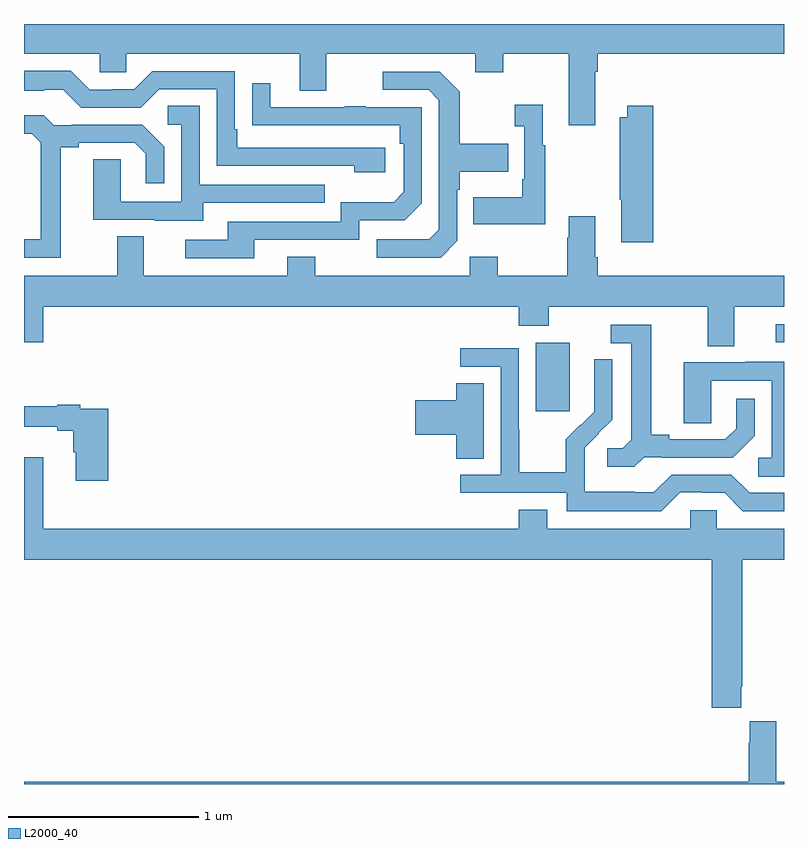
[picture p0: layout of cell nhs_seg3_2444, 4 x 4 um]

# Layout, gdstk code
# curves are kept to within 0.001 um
import gdstk
lib = gdstk.Library(unit=1e-6, precision=1e-09)
def R(c, l, rs):  # rectangles x0, y0, x1, y1
    for r in rs: c.add(gdstk.rectangle(r[:2], r[2:], *l))
def P(c, l, *ps):  # polygons
    for p in ps: c.add(gdstk.Polygon(p, *l))
L2000_40 = (2000, 40)

nhs_seg3_2444 = lib.new_cell('nhs_seg3_2444')
R(nhs_seg3_2444, L2000_40, [(239.693,704.361,239.872,704.722), (240.957,704.724,241,704.82)])
P(nhs_seg3_2444, L2000_40, [(240.007,706.148),(240.02,706.148),(240.02,706.244),(241,706.244),(241,706.4),(237,706.4),(237,706.244),(237.399,706.244),(237.399,706.146),(237.537,706.146),(237.537,706.244),(238.451,706.244),(238.451,706.05),(238.591,706.05),(238.591,706.244),(239.375,706.244),(239.375,706.145),(239.523,706.145),(239.523,706.244),(239.867,706.244),(239.867,705.867),(240.007,705.867)],
  [(238.9,705.75),(238.123,705.75),(238.123,705.847),(238.11,705.847),(238.11,706.152),(237.675,706.152),(237.579,706.056),(237.461,706.056),(237.461,706.053),(237.345,706.053),(237.245,706.153),(237,706.153),(237,706.049),(237.107,706.049),(237.107,706.053),(237.207,706.053),(237.3,705.96),(237.615,705.96),(237.711,706.056),(238.014,706.056),(238.014,705.654),(238.739,705.654),(238.739,705.62),(238.9,705.62)],
  [(239.28,705.258),(239.28,705.527),(239.293,705.527),(239.293,705.623),(239.549,705.623),(239.549,705.771),(239.293,705.771),(239.293,706.043),(239.187,706.149),(238.887,706.149),(238.887,706.053),(239.13,706.053),(239.184,705.999),(239.184,705.318),(239.133,705.267),(238.857,705.267),(238.857,705.171),(239.193,705.171)],
  [(238.213,705.264),(238.764,705.264),(238.764,705.366),(239.004,705.366),(239.094,705.456),(239.094,705.963),(238.799,705.963),(238.799,705.968),(238.687,705.968),(238.687,705.963),(238.297,705.963),(238.297,706.087),(238.201,706.087),(238.201,705.868),(238.978,705.867),(238.978,705.77),(238.998,705.77),(238.998,705.516),(238.945,705.463),(238.668,705.463),(238.668,705.36),(238.073,705.36),(238.073,705.264),(237.849,705.264),(237.849,705.168),(238.213,705.168)],
  [(239.743,705.763),(239.731,705.763),(239.731,705.976),(239.583,705.976),(239.583,705.863),(239.634,705.863),(239.634,705.583),(239.622,705.583),(239.622,705.487),(239.365,705.487),(239.365,705.347),(239.743,705.347)],
  [(237.943,705.459),(238.583,705.459),(238.583,705.555),(237.924,705.555),(237.924,705.971),(237.756,705.971),(237.756,705.87),(237.828,705.87),(237.828,705.465),(237.51,705.465),(237.51,705.689),(237.365,705.689),(237.365,705.369),(237.689,705.369),(237.689,705.365),(237.943,705.365)],
  [(240.311,705.97),(240.176,705.97),(240.176,705.91),(240.136,705.91),(240.136,705.475),(240.143,705.475),(240.143,705.252),(240.311,705.252)],
  [(237.193,705.752),(237.289,705.752),(237.289,705.774),(237.584,705.774),(237.641,705.717),(237.641,705.561),(237.738,705.561),(237.738,705.754),(237.622,705.87),(237.25,705.87),(237.25,705.867),(237.156,705.867),(237.104,705.919),(237,705.919),(237,705.822),(237.042,705.822),(237.089,705.775),(237.089,705.267),(237,705.267),(237,705.171),(237.193,705.171)],
  [(240.739,704.912),(241,704.912),(241,705.076),(240.02,705.076),(240.02,705.172),(240.007,705.172),(240.007,705.388),(239.867,705.388),(239.867,705.275),(239.86,705.275),(239.86,705.076),(239.493,705.076),(239.493,705.175),(239.346,705.175),(239.346,705.076),(238.533,705.076),(238.533,705.175),(238.385,705.175),(238.385,705.076),(237.631,705.076),(237.631,705.284),(237.491,705.284),(237.491,705.076),(237,705.076),(237,704.724),(237.1,704.724),(237.1,704.912),(239.603,704.912),(239.603,704.813),(239.763,704.813),(239.763,704.912),(240.599,704.912),(240.599,704.704),(240.739,704.704)],
  [(240.264,704.121),(240.358,704.121),(240.358,704.118),(240.73,704.118),(240.846,704.234),(240.846,704.428),(240.749,704.428),(240.749,704.271),(240.692,704.214),(240.397,704.214),(240.397,704.237),(240.301,704.237),(240.301,704.817),(240.087,704.817),(240.087,704.721),(240.197,704.721),(240.197,704.213),(240.15,704.166),(240.069,704.166),(240.069,704.069),(240.212,704.069)],
  [(240.453,703.935),(240.569,703.935),(240.569,703.932),(240.687,703.932),(240.783,703.836),(241,703.836),(241,703.932),(240.819,703.932),(240.723,704.028),(240.408,704.028),(240.315,703.935),(240.215,703.935),(240.215,703.939),(239.952,703.939),(239.952,704.073),(239.95,704.073),(239.95,704.17),(240.096,704.318),(240.096,704.636),(240,704.636),(240,704.482),(240.002,704.482),(240.002,704.36),(239.931,704.289),(239.928,704.292),(239.851,704.215),(239.851,704.041),(239.607,704.041),(239.607,704.264),(239.604,704.264),(239.604,704.694),(239.295,704.694),(239.295,704.595),(239.508,704.595),(239.508,704.028),(239.295,704.028),(239.295,703.932),(239.856,703.932),(239.856,703.835),(240.353,703.835)],
  [(241,704.623),(240.797,704.623),(240.797,704.619),(240.473,704.619),(240.473,704.299),(240.618,704.299),(240.618,704.523),(240.936,704.523),(240.936,704.118),(240.864,704.118),(240.864,704.017),(241,704.017)],
  [(239.419,704.51),(239.276,704.51),(239.276,704.42),(239.058,704.42),(239.058,704.237),(239.276,704.237),(239.276,704.113),(239.419,704.113)],
  [(237.443,704.376),(237.296,704.376),(237.296,704.396),(237.176,704.396),(237.176,704.389),(237,704.389),(237,704.279),(237.176,704.279),(237.176,704.26),(237.26,704.26),(237.26,704.145),(237.272,704.145),(237.272,703.995),(237.443,703.995)],
  [(240.775,702.913),(240.78,702.913),(240.78,703.58),(241,703.58),(241,703.744),(240.645,703.744),(240.645,703.842),(240.507,703.842),(240.507,703.744),(239.755,703.744),(239.755,703.843),(239.603,703.843),(239.603,703.744),(237.1,703.744),(237.1,704.119),(237,704.119),(237,703.58),(240.62,703.58),(240.62,702.801),(240.775,702.801)],
  [(241,702.412),(240.958,702.412),(240.958,702.73),(240.821,702.73),(240.821,702.617),(240.815,702.617),(240.815,702.412),(237,702.412),(237,702.4),(241,702.4)])

lib.write_gds('nhs_seg3_2444.gds')
